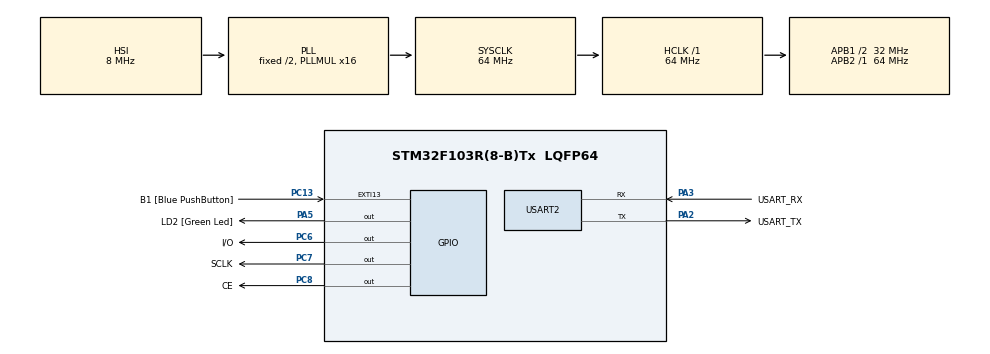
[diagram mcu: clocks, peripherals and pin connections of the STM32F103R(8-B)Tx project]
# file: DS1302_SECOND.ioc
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Mcu.Family=STM32F1
Mcu.Name=STM32F103R(8-B)Tx
Mcu.Package=LQFP64
NVIC.EXTI15_10_IRQn=true\:0\:0\:false\:false\:true\:true\:true\:true
NVIC.PriorityGroup=NVIC_PRIORITYGROUP_4
PA13.GPIO_Label=TMS
PA13.Mode=Serial_Wire
PA13.Signal=SYS_JTMS-SWDIO
PA14.GPIO_Label=TCK
PA14.Mode=Serial_Wire
PA14.Signal=SYS_JTCK-SWCLK
PA2.GPIO_Label=USART_TX
PA2.GPIO_Mode=GPIO_MODE_AF_PP
PA2.GPIO_PuPd=GPIO_NOPULL
PA2.GPIO_Speed=GPIO_SPEED_FREQ_LOW
PA2.Mode=Asynchronous
PA2.Signal=USART2_TX
PA3.GPIO_Label=USART_RX
PA3.GPIO_Mode=GPIO_MODE_AF_PP
PA3.GPIO_PuPd=GPIO_NOPULL
PA3.GPIO_Speed=GPIO_SPEED_FREQ_LOW
PA3.Mode=Asynchronous
PA3.Signal=USART2_RX
PA5.GPIO_Label=LD2 [Green Led]
PA5.GPIO_ModeDefaultOutputPP=GPIO_MODE_OUTPUT_PP
PA5.GPIO_PuPd=GPIO_NOPULL
PA5.GPIO_Speed=GPIO_SPEED_FREQ_LOW
PA5.Signal=GPIO_Output
PB3.GPIO_Label=SWO
PB3.Signal=SYS_JTDO-TRACESWO
PC13-TAMPER-RTC.GPIO_Label=B1 [Blue PushButton]
PC13-TAMPER-RTC.GPIO_PuPd=GPIO_NOPULL
PC13-TAMPER-RTC.Signal=GPXTI13
PC14-OSC32_IN.Signal=RCC_OSC32_IN
PC15-OSC32_OUT.Signal=RCC_OSC32_OUT
PC6.GPIO_Label=I/O
PC6.Signal=GPIO_Output
PC7.GPIO_Label=SCLK
PC7.Signal=GPIO_Output
PC8.GPIO_Label=CE
PC8.Signal=GPIO_Output
PD0-OSC_IN.Signal=RCC_OSC_IN
PD1-OSC_OUT.Signal=RCC_OSC_OUT
ProjectManager.HeapSize=0x200
ProjectManager.StackSize=0x400
ProjectManager.TargetToolchain=STM32CubeIDE
RCC.AHBFreq_Value=64000000
RCC.APB1CLKDivider=RCC_HCLK_DIV2
RCC.APB1Freq_Value=32000000
RCC.APB1TimFreq_Value=64000000
RCC.APB2Freq_Value=64000000
RCC.APB2TimFreq_Value=64000000
RCC.HCLKFreq_Value=64000000
RCC.PLLMUL=RCC_PLL_MUL16
RCC.RTCClockSelection=RCC_RTCCLKSOURCE_LSE
RCC.SYSCLKFreq_VALUE=64000000
RCC.SYSCLKSource=RCC_SYSCLKSOURCE_PLLCLK
RCC.USBFreq_Value=64000000
USART2.VirtualMode=VM_ASYNC
board=NUCLEO-F103RB

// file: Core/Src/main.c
/* USER CODE BEGIN Header */
/**
  ******************************************************************************
  * @file           : main.c
  * @brief          : Main program body
  ******************************************************************************
  * @attention
  *
  * Copyright (c) 2023 STMicroelectronics.
  * All rights reserved.
  *
  * This software is licensed under terms that can be found in the LICENSE file
  * in the root directory of this software component.
  * If no LICENSE file comes with this software, it is provided AS-IS.
  *
  ******************************************************************************
  */
/* USER CODE END Header */
#include "main.h"

/* USER CODE BEGIN Includes */
#include <stdio.h>
#include "DS1302.h"
/* USER CODE END Includes */

 UART_HandleTypeDef huart2;

void SystemClock_Config(void);
static void MX_GPIO_Init(void);
static void MX_USART2_UART_Init(void);

/* USER CODE BEGIN 0 */
#ifdef __GNUC__
/* With GCC, small printf (option LD Linker->Libraries->Small printf
   set to 'Yes') calls __io_putchar() */
#define PUTCHAR_PROTOTYPE int __io_putchar(int ch)
#else
#define PUTCHAR_PROTOTYPE int fputc(int ch, FILE *f)
#endif /* __GNUC__ */

/**
  * @brief  Retargets the C library printf function to the USART.
  * @param  None
  * @retval None
  */
PUTCHAR_PROTOTYPE
{
  /* Place your implementation of fputc here */
  /* e.g. write a character to the USART1 and Loop until the end of transmission */
  if (ch == '\n')
    HAL_UART_Transmit (&huart2, (uint8_t*) "\r", 1, 0xFFFF);
  HAL_UART_Transmit (&huart2, (uint8_t*) &ch, 1, 0xFFFF);

  return ch;
}

/* USER CODE END 0 */

int main(void)
{

  /* MCU Configuration--------------------------------------------------------*/

  /* Reset of all peripherals, Initializes the Flash interface and the Systick. */
  HAL_Init();

  /* Configure the system clock */
  SystemClock_Config();

  /* Initialize all configured peripherals */
  MX_GPIO_Init();
  MX_USART2_UART_Init();
  /* USER CODE BEGIN 2 */
  uint8_t time[3];
  DS1302_HALT(SCLK_GPIO_Port, SCLK_Pin, I_O_GPIO_Port, I_O_Pin, CE_GPIO_Port, CE_Pin, 0);
  setTime(20,12,0);
  /* USER CODE END 2 */

  /* Infinite loop */
  /* USER CODE BEGIN WHILE */
  while (1)
  {
    readTime(time);
    printf ("%x:%x:%x\n",time[2],time[1],time[0]);
    HAL_Delay(1000);
    /* USER CODE END WHILE */

  }
}

void SystemClock_Config(void)
{
  RCC_OscInitTypeDef RCC_OscInitStruct = {0};
  RCC_ClkInitTypeDef RCC_ClkInitStruct = {0};

  /** Initializes the RCC Oscillators according to the specified parameters
  * in the RCC_OscInitTypeDef structure.
  */
  RCC_OscInitStruct.OscillatorType = RCC_OSCILLATORTYPE_HSI;
  RCC_OscInitStruct.HSIState = RCC_HSI_ON;
  RCC_OscInitStruct.HSICalibrationValue = RCC_HSICALIBRATION_DEFAULT;
  RCC_OscInitStruct.PLL.PLLState = RCC_PLL_ON;
  RCC_OscInitStruct.PLL.PLLSource = RCC_PLLSOURCE_HSI_DIV2;
  RCC_OscInitStruct.PLL.PLLMUL = RCC_PLL_MUL16;
  if (HAL_RCC_OscConfig(&RCC_OscInitStruct) != HAL_OK)
  {
    Error_Handler();
  }

  /** Initializes the CPU, AHB and APB buses clocks
  */
  RCC_ClkInitStruct.ClockType = RCC_CLOCKTYPE_HCLK|RCC_CLOCKTYPE_SYSCLK
                              |RCC_CLOCKTYPE_PCLK1|RCC_CLOCKTYPE_PCLK2;
  RCC_ClkInitStruct.SYSCLKSource = RCC_SYSCLKSOURCE_PLLCLK;
  RCC_ClkInitStruct.AHBCLKDivider = RCC_SYSCLK_DIV1;
  RCC_ClkInitStruct.APB1CLKDivider = RCC_HCLK_DIV2;
  RCC_ClkInitStruct.APB2CLKDivider = RCC_HCLK_DIV1;

  if (HAL_RCC_ClockConfig(&RCC_ClkInitStruct, FLASH_LATENCY_2) != HAL_OK)
  {
    Error_Handler();
  }
}

static void MX_USART2_UART_Init(void)
{

  huart2.Instance = USART2;
  huart2.Init.BaudRate = 115200;
  huart2.Init.WordLength = UART_WORDLENGTH_8B;
  huart2.Init.StopBits = UART_STOPBITS_1;
  huart2.Init.Parity = UART_PARITY_NONE;
  huart2.Init.Mode = UART_MODE_TX_RX;
  huart2.Init.HwFlowCtl = UART_HWCONTROL_NONE;
  huart2.Init.OverSampling = UART_OVERSAMPLING_16;
  if (HAL_UART_Init(&huart2) != HAL_OK)
  {
    Error_Handler();
  }

}

static void MX_GPIO_Init(void)
{
  GPIO_InitTypeDef GPIO_InitStruct = {0};

  /* GPIO Ports Clock Enable */
  __HAL_RCC_GPIOC_CLK_ENABLE();
  __HAL_RCC_GPIOD_CLK_ENABLE();
  __HAL_RCC_GPIOA_CLK_ENABLE();
  __HAL_RCC_GPIOB_CLK_ENABLE();

  /*Configure GPIO pin Output Level */
  HAL_GPIO_WritePin(LD2_GPIO_Port, LD2_Pin, GPIO_PIN_RESET);

  /*Configure GPIO pin Output Level */
  HAL_GPIO_WritePin(GPIOC, I_O_Pin|SCLK_Pin|CE_Pin, GPIO_PIN_RESET);

  /*Configure GPIO pin : B1_Pin */
  GPIO_InitStruct.Pin = B1_Pin;
  GPIO_InitStruct.Mode = GPIO_MODE_IT_RISING;
  GPIO_InitStruct.Pull = GPIO_NOPULL;
  HAL_GPIO_Init(B1_GPIO_Port, &GPIO_InitStruct);

  /*Configure GPIO pin : LD2_Pin */
  GPIO_InitStruct.Pin = LD2_Pin;
  GPIO_InitStruct.Mode = GPIO_MODE_OUTPUT_PP;
  GPIO_InitStruct.Pull = GPIO_NOPULL;
  GPIO_InitStruct.Speed = GPIO_SPEED_FREQ_LOW;
  HAL_GPIO_Init(LD2_GPIO_Port, &GPIO_InitStruct);

  /*Configure GPIO pins : I_O_Pin SCLK_Pin CE_Pin */
  GPIO_InitStruct.Pin = I_O_Pin|SCLK_Pin|CE_Pin;
  GPIO_InitStruct.Mode = GPIO_MODE_OUTPUT_PP;
  GPIO_InitStruct.Pull = GPIO_NOPULL;
  GPIO_InitStruct.Speed = GPIO_SPEED_FREQ_LOW;
  HAL_GPIO_Init(GPIOC, &GPIO_InitStruct);

  /* EXTI interrupt init*/
  HAL_NVIC_SetPriority(EXTI15_10_IRQn, 0, 0);
  HAL_NVIC_EnableIRQ(EXTI15_10_IRQn);

}

void Error_Handler(void)
{
  __disable_irq();
  while (1)
  {
  }
}
